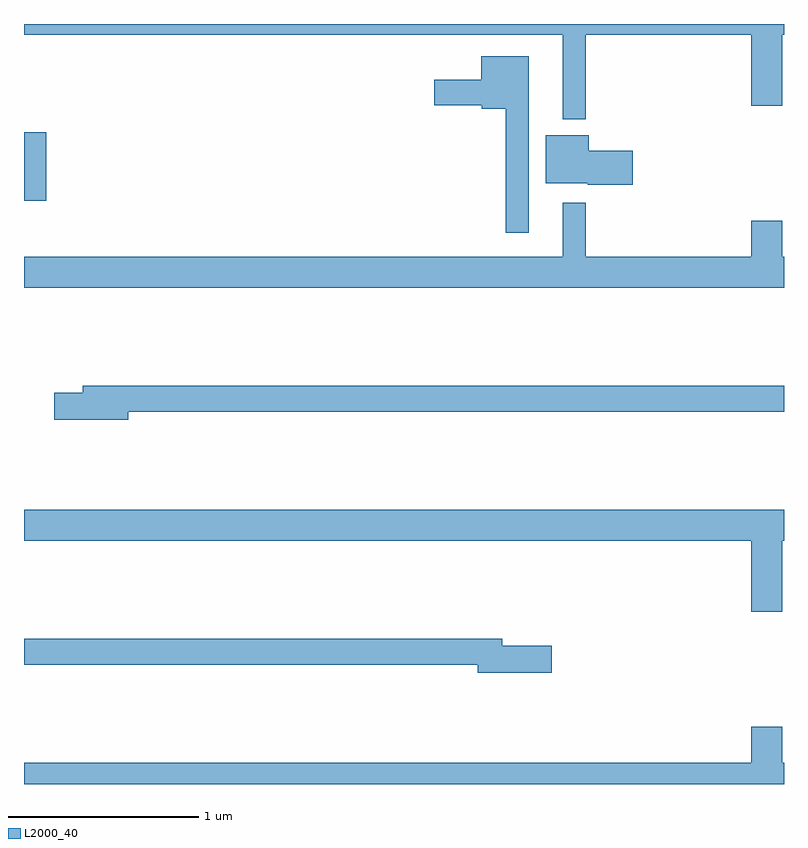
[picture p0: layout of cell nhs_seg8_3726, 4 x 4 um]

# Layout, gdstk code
import gdstk
lib = gdstk.Library(unit=1e-6, precision=1e-09)
def R(c, l, rs):  # rectangles x0, y0, x1, y1
    for r in rs: c.add(gdstk.rectangle(r[:2], r[2:], *l))
def P(c, l, *ps):  # polygons
    for p in ps: c.add(gdstk.Polygon(p, *l))
L2000_40 = (2000, 40)

nhs_seg8_3726 = lib.new_cell('nhs_seg8_3726')
R(nhs_seg8_3726, L2000_40, [(341,1104.97,341.117,1105.33)])
P(nhs_seg8_3726, L2000_40, [(343.957,1105.844),(344.828,1105.844),(344.828,1105.47),(344.992,1105.47),(344.992,1105.844),(345,1105.844),(345,1105.9),(341,1105.9),(341,1105.844),(343.835,1105.844),(343.835,1105.4),(343.957,1105.4)],
  [(343.657,1105.729),(343.406,1105.729),(343.406,1105.606),(343.158,1105.606),(343.158,1105.472),(343.41,1105.472),(343.41,1105.454),(343.536,1105.454),(343.536,1104.801),(343.657,1104.801)],
  [(344.203,1105.232),(343.972,1105.232),(343.972,1105.315),(343.745,1105.315),(343.745,1105.061),(343.968,1105.061),(343.968,1105.054),(344.203,1105.054)],
  [(345,1104.676),(344.992,1104.676),(344.992,1104.865),(344.828,1104.865),(344.828,1104.676),(343.957,1104.676),(343.957,1104.958),(343.835,1104.958),(343.835,1104.676),(341,1104.676),(341,1104.512),(345,1104.512)],
  [(341.548,1103.86),(345,1103.86),(345,1103.996),(341.309,1103.996),(341.309,1103.96),(341.16,1103.96),(341.16,1103.818),(341.548,1103.818)],
  [(344.992,1103.18),(345,1103.18),(345,1103.344),(341,1103.344),(341,1103.18),(344.828,1103.18),(344.828,1102.806),(344.992,1102.806)],
  [(343.777,1102.628),(343.516,1102.628),(343.516,1102.664),(341,1102.664),(341,1102.528),(343.388,1102.528),(343.388,1102.486),(343.777,1102.486)],
  [(345,1102.012),(344.992,1102.012),(344.992,1102.201),(344.828,1102.201),(344.828,1102.012),(341,1102.012),(341,1101.9),(345,1101.9)])

lib.write_gds('nhs_seg8_3726.gds')
